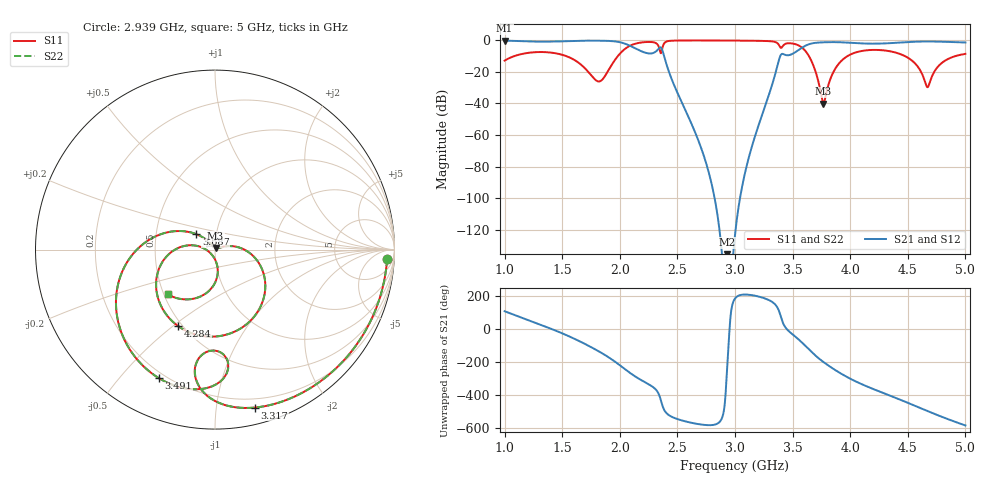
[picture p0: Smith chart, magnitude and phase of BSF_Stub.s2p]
! Touchstone file from project ECEN_425_Project2MELANIE
! Exported from Circuit Design 2017.1.0
# GHZ S MA R 50.000000
! Modal data exported
! Port[1] = 1
! Port[2] = 2
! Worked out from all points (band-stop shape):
!   4001 points, 1 GHz to 5 GHz, reference 50 ohm
!   highest |S21| = -0.39 dB at 1 GHz (marker M1); lowest = -176.1 dB at 2.934 GHz (marker M2)
!   |S21| within 3 dB of the highest: start of sweep to 2.081 GHz; 3.618 GHz to end of sweep
!   lowest |S11| = -40.2 dB at 3.768 GHz (marker M3), VSWR 1.02, Z = 50.3 + j0.937 ohm
!   |S11| at or under -10 dB: 1.528 GHz to 1.985 GHz (456.9 MHz wide, 26 % of centre); 3.64 GHz to 3.981 GHz (340.3 MHz wide, 8.93 % of centre); 4.47 GHz to 4.922 GHz (451.5 MHz wide, 9.61 % of centre)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
!   |S22| runs from -40.2 to -0.3 dB; largest |S21 - S12| = 1.8e-12
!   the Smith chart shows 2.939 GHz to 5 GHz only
!   S11 on the Smith chart (normalised r, x): 2.939 GHz: 18, -24; 3.317 GHz: 0.13, -1.28; 3.491 GHz: 0.17, -0.64; 3.687 GHz: 0.80, +0.14; 4.284 GHz: 0.47, -0.52; 5 GHz: 0.52, -0.30
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1  0.2225 -164.7  0.9559 107.3  0.9559 107.3  0.2225 -164.8
! Port Impedance50 0 50 0
1.38  0.4072 97.9  0.8872 7.5  0.8872 7.5  0.4072 97.7
1.667  0.1617 14.3  0.9473 -80.0  0.9473 -80.0  0.1618 14.4
1.893  0.0978 -83.1  0.9378 -167.2  0.9378 -167.2  0.09764 -81.9
2.047  0.5294 -159.3  0.7594 115.4  0.7594 115.4  0.5293 -159.1
2.334  0.6619 79.5  0.5165 -28.2  0.5165 -28.2  0.6616 79.4
2.389  0.8151 110.7  0.2718 -134.8  0.2718 -134.8  0.8149 110.7
2.758  0.9655 25.8  0.0001004 137.8  0.0001004 137.8  0.9655 25.8
2.934  0.9606 -2.3  1.574e-09 150.1  1.574e-09 150.1  0.9607 -2.2
2.939  0.9604 -3.1  1.649e-09 -152.6  1.649e-09 -152.6  0.9605 -3.0
3  0.9577 -12.9  6.898e-07 -175.8  6.898e-07 -175.8  0.9578 -12.9
3.102  0.9517 -30.1  0.0001077 -151.9  0.0001077 -151.9  0.9517 -30.0
3.317  0.9077 -75.8  0.03337 166.2  0.03337 166.2  0.9077 -75.7
3.491  0.7819 -113.4  0.3532 -27.8  0.3532 -27.8  0.7818 -113.3
3.667  0.2041 149.9  0.7787 -141.2  0.7787 -141.2  0.2035 149.6
3.687  0.1349 140.6  0.8026 -154.1  0.8026 -154.1  0.1342 140.1
3.768  0.009748 72.9  0.8449 159.8  0.8449 159.8  0.009846 63.4
3.942  0.2523 -16.4  0.8389 81.0  0.8389 81.0  0.2525 -16.4
4.284  0.4728 -116.0  0.7756 -27.0  0.7756 -27.0  0.4728 -115.8
4.334  0.4476 -128.9  0.7897 -40.6  0.7897 -40.6  0.4476 -128.7
4.671  0.03209 -136.1  0.8981 -136.9  0.8981 -136.9  0.03206 -135.9
5  0.3635 -136.7  0.8341 135.8  0.8341 135.8  0.3635 -136.5
